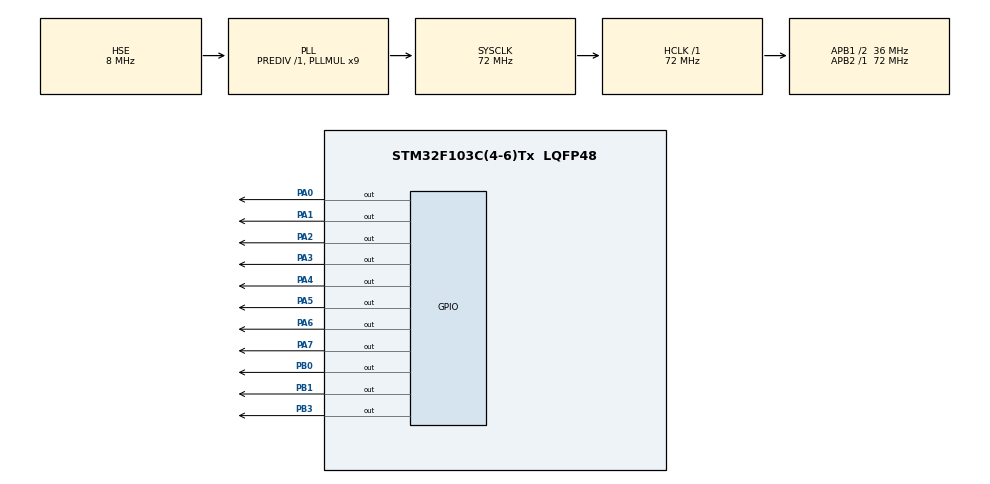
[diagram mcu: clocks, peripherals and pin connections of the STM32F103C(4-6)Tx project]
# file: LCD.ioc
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Mcu.Family=STM32F1
Mcu.Name=STM32F103C(4-6)Tx
Mcu.Package=LQFP48
NVIC.PriorityGroup=NVIC_PRIORITYGROUP_4
PA0-WKUP.Signal=GPIO_Output
PA1.Signal=GPIO_Output
PA13.Mode=Serial_Wire
PA13.Signal=SYS_JTMS-SWDIO
PA14.Mode=Serial_Wire
PA14.Signal=SYS_JTCK-SWCLK
PA2.Signal=GPIO_Output
PA3.Signal=GPIO_Output
PA4.Signal=GPIO_Output
PA5.Signal=GPIO_Output
PA6.Signal=GPIO_Output
PA7.Signal=GPIO_Output
PB0.Signal=GPIO_Output
PB1.Signal=GPIO_Output
PB3.Signal=GPIO_Output
PD0-OSC_IN.Mode=HSE-External-Oscillator
PD0-OSC_IN.Signal=RCC_OSC_IN
PD1-OSC_OUT.Mode=HSE-External-Oscillator
PD1-OSC_OUT.Signal=RCC_OSC_OUT
ProjectManager.HeapSize=0x200
ProjectManager.StackSize=0x400
ProjectManager.TargetToolchain=STM32CubeIDE
RCC.AHBFreq_Value=72000000
RCC.APB1CLKDivider=RCC_HCLK_DIV2
RCC.APB1Freq_Value=36000000
RCC.APB1TimFreq_Value=72000000
RCC.APB2Freq_Value=72000000
RCC.APB2TimFreq_Value=72000000
RCC.HCLKFreq_Value=72000000
RCC.PLLMUL=RCC_PLL_MUL9
RCC.PLLSourceVirtual=RCC_PLLSOURCE_HSE
RCC.SYSCLKFreq_VALUE=72000000
RCC.SYSCLKSource=RCC_SYSCLKSOURCE_PLLCLK
RCC.USBFreq_Value=72000000
board=custom

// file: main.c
/* USER CODE BEGIN Header */
/**
  ******************************************************************************
  * @file           : main.c
  * @brief          : Main program body
  ******************************************************************************
  * @attention
  *
  * Copyright (c) 2026 STMicroelectronics.
  * All rights reserved.
  *
  * This software is licensed under terms that can be found in the LICENSE file
  * in the root directory of this software component.
  * If no LICENSE file comes with this software, it is provided AS-IS.
  *
  ******************************************************************************
  */
/* USER CODE END Header */
#include "main.h"

/* USER CODE BEGIN PV */

void command(uint8_t a)
{
	HAL_GPIO_WritePin(GPIOA, GPIO_PIN_0, (a & 1<<0)?GPIO_PIN_SET:GPIO_PIN_RESET);
	HAL_GPIO_WritePin(GPIOA, GPIO_PIN_1, (a & 1<<1)?GPIO_PIN_SET:GPIO_PIN_RESET);
	HAL_GPIO_WritePin(GPIOA, GPIO_PIN_2, (a & 1<<2)?GPIO_PIN_SET:GPIO_PIN_RESET);
	HAL_GPIO_WritePin(GPIOA, GPIO_PIN_3, (a & 1<<3)?GPIO_PIN_SET:GPIO_PIN_RESET);
	HAL_GPIO_WritePin(GPIOA, GPIO_PIN_4, (a & 1<<4)?GPIO_PIN_SET:GPIO_PIN_RESET);
	HAL_GPIO_WritePin(GPIOA, GPIO_PIN_5, (a & 1<<5)?GPIO_PIN_SET:GPIO_PIN_RESET);
	HAL_GPIO_WritePin(GPIOA, GPIO_PIN_6, (a & 1<<6)?GPIO_PIN_SET:GPIO_PIN_RESET);
	HAL_GPIO_WritePin(GPIOA, GPIO_PIN_7, (a & 1<<7)?GPIO_PIN_SET:GPIO_PIN_RESET);
}

void data(uint8_t b)
{
	HAL_GPIO_WritePin(GPIOA, GPIO_PIN_0, (b & 1<<0)?GPIO_PIN_SET:GPIO_PIN_RESET);
	HAL_GPIO_WritePin(GPIOA, GPIO_PIN_1, (b & 1<<1)?GPIO_PIN_SET:GPIO_PIN_RESET);
	HAL_GPIO_WritePin(GPIOA, GPIO_PIN_2, (b & 1<<2)?GPIO_PIN_SET:GPIO_PIN_RESET);
	HAL_GPIO_WritePin(GPIOA, GPIO_PIN_3, (b & 1<<3)?GPIO_PIN_SET:GPIO_PIN_RESET);
	HAL_GPIO_WritePin(GPIOA, GPIO_PIN_4, (b & 1<<4)?GPIO_PIN_SET:GPIO_PIN_RESET);
	HAL_GPIO_WritePin(GPIOA, GPIO_PIN_5, (b & 1<<5)?GPIO_PIN_SET:GPIO_PIN_RESET);
	HAL_GPIO_WritePin(GPIOA, GPIO_PIN_6, (b & 1<<6)?GPIO_PIN_SET:GPIO_PIN_RESET);
	HAL_GPIO_WritePin(GPIOA, GPIO_PIN_7, (b & 1<<7)?GPIO_PIN_SET:GPIO_PIN_RESET);
}

void cmd (uint8_t a)
{
	command(a);
	HAL_GPIO_WritePin(GPIOB, GPIO_PIN_0, GPIO_PIN_RESET);
	HAL_GPIO_WritePin(GPIOB, GPIO_PIN_1, GPIO_PIN_RESET);
	HAL_GPIO_WritePin(GPIOB, GPIO_PIN_3, GPIO_PIN_SET);
	HAL_Delay(1);
	HAL_GPIO_WritePin(GPIOB, GPIO_PIN_3, GPIO_PIN_RESET);
}
void dat(uint8_t b)
{
	data(b);
	HAL_GPIO_WritePin(GPIOB, GPIO_PIN_0, GPIO_PIN_SET);
	HAL_GPIO_WritePin(GPIOB, GPIO_PIN_1, GPIO_PIN_RESET);
	HAL_GPIO_WritePin(GPIOB, GPIO_PIN_3, GPIO_PIN_SET);
	HAL_Delay(1);
	HAL_GPIO_WritePin(GPIOB, GPIO_PIN_3, GPIO_PIN_RESET);
}

void lcd_init()
{
	cmd(0x38);
	cmd(0x0c);
	cmd(0x06);
	cmd(0x01);
	HAL_Delay(2);
	cmd(0x80);
}
void display(char *s)
{
	while(*s)
	{
		dat(*s++);
	}
}

/* USER CODE END PV */

void SystemClock_Config(void);
static void MX_GPIO_Init(void);

int main(void)
{

  /* MCU Configuration--------------------------------------------------------*/

  /* Reset of all peripherals, Initializes the Flash interface and the Systick. */
  HAL_Init();

  /* Configure the system clock */
  SystemClock_Config();

  /* Initialize all configured peripherals */
  MX_GPIO_Init();
  lcd_init();
  /* Infinite loop */
  while (1)
  {
	  cmd(0x80);
	  display("WELCOME TO");
	  cmd(0xC0);
	  display("STM 32");
	  HAL_Delay(25);
	  cmd(0x01);
	  cmd(0x80);
	  display("HAII..!!!");
	  cmd(0xC0);
	  display("START HERE");
	  HAL_Delay(25);
	  cmd(0x01);
  }
}

void SystemClock_Config(void)
{
  RCC_OscInitTypeDef RCC_OscInitStruct = {0};
  RCC_ClkInitTypeDef RCC_ClkInitStruct = {0};

  /** Initializes the RCC Oscillators according to the specified parameters
  * in the RCC_OscInitTypeDef structure.
  */
  RCC_OscInitStruct.OscillatorType = RCC_OSCILLATORTYPE_HSE;
  RCC_OscInitStruct.HSEState = RCC_HSE_ON;
  RCC_OscInitStruct.HSEPredivValue = RCC_HSE_PREDIV_DIV1;
  RCC_OscInitStruct.HSIState = RCC_HSI_ON;
  RCC_OscInitStruct.PLL.PLLState = RCC_PLL_ON;
  RCC_OscInitStruct.PLL.PLLSource = RCC_PLLSOURCE_HSE;
  RCC_OscInitStruct.PLL.PLLMUL = RCC_PLL_MUL9;
  if (HAL_RCC_OscConfig(&RCC_OscInitStruct) != HAL_OK)
  {
    Error_Handler();
  }

  /** Initializes the CPU, AHB and APB buses clocks
  */
  RCC_ClkInitStruct.ClockType = RCC_CLOCKTYPE_HCLK|RCC_CLOCKTYPE_SYSCLK
                              |RCC_CLOCKTYPE_PCLK1|RCC_CLOCKTYPE_PCLK2;
  RCC_ClkInitStruct.SYSCLKSource = RCC_SYSCLKSOURCE_PLLCLK;
  RCC_ClkInitStruct.AHBCLKDivider = RCC_SYSCLK_DIV1;
  RCC_ClkInitStruct.APB1CLKDivider = RCC_HCLK_DIV2;
  RCC_ClkInitStruct.APB2CLKDivider = RCC_HCLK_DIV1;

  if (HAL_RCC_ClockConfig(&RCC_ClkInitStruct, FLASH_LATENCY_2) != HAL_OK)
  {
    Error_Handler();
  }
}

static void MX_GPIO_Init(void)
{
  GPIO_InitTypeDef GPIO_InitStruct = {0};

  /* GPIO Ports Clock Enable */
  __HAL_RCC_GPIOD_CLK_ENABLE();
  __HAL_RCC_GPIOA_CLK_ENABLE();
  __HAL_RCC_GPIOB_CLK_ENABLE();

  /*Configure GPIO pin Output Level */
  HAL_GPIO_WritePin(GPIOA, GPIO_PIN_0|GPIO_PIN_1|GPIO_PIN_2|GPIO_PIN_3
                          |GPIO_PIN_4|GPIO_PIN_5|GPIO_PIN_6|GPIO_PIN_7, GPIO_PIN_RESET);

  /*Configure GPIO pin Output Level */
  HAL_GPIO_WritePin(GPIOB, GPIO_PIN_0|GPIO_PIN_1|GPIO_PIN_3, GPIO_PIN_RESET);

  /*Configure GPIO pins : PA0 PA1 PA2 PA3
                           PA4 PA5 PA6 PA7 */
  GPIO_InitStruct.Pin = GPIO_PIN_0|GPIO_PIN_1|GPIO_PIN_2|GPIO_PIN_3
                          |GPIO_PIN_4|GPIO_PIN_5|GPIO_PIN_6|GPIO_PIN_7;
  GPIO_InitStruct.Mode = GPIO_MODE_OUTPUT_PP;
  GPIO_InitStruct.Pull = GPIO_NOPULL;
  GPIO_InitStruct.Speed = GPIO_SPEED_FREQ_LOW;
  HAL_GPIO_Init(GPIOA, &GPIO_InitStruct);

  /*Configure GPIO pins : PB0 PB1 PB3 */
  GPIO_InitStruct.Pin = GPIO_PIN_0|GPIO_PIN_1|GPIO_PIN_3;
  GPIO_InitStruct.Mode = GPIO_MODE_OUTPUT_PP;
  GPIO_InitStruct.Pull = GPIO_NOPULL;
  GPIO_InitStruct.Speed = GPIO_SPEED_FREQ_LOW;
  HAL_GPIO_Init(GPIOB, &GPIO_InitStruct);

}

void Error_Handler(void)
{
  __disable_irq();
  while (1)
  {
  }
}
